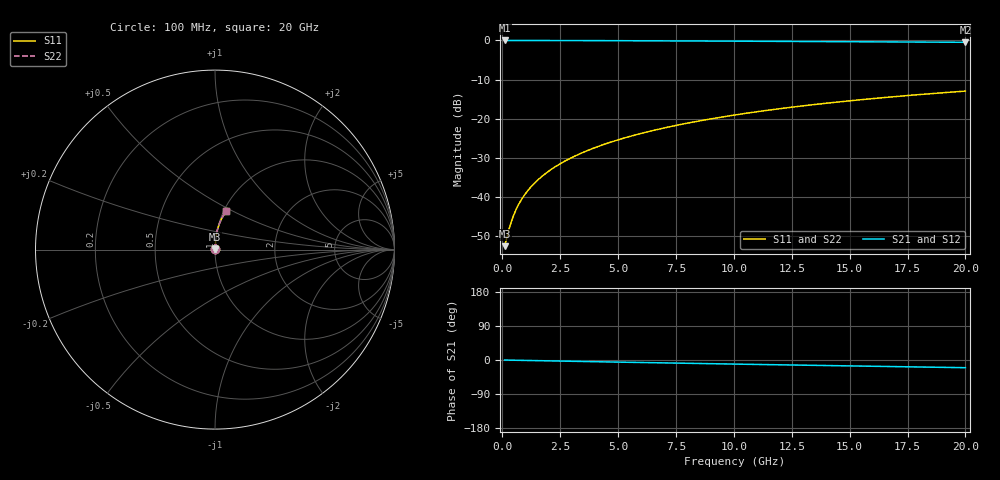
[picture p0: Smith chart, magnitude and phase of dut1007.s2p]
! Touchstone file exported from HFSS 2024.1.0
!  File:  C:/UserFiles/LocalFiles/RDL_TSV_Batchsim/temp_RDL_bottom_1007_1780050224.aedt
!  Generated:  06:26:08 PM May 29, 2026
!  Design:  RDL_bottom
!  Project:  temp_RDL_bottom_1007_1780050224
!  Setup:  Setup1
!  Solution:  Sweep
! Variables:
!  dtsv = 10.80580581um
!  hbump = 3um
!  htsv = 92.36um
!  ldown = 253.53um
!  lrdl = 100um
!  p = 40
!  p1 = 43.96um
!  rhole = 1um
!  t = 450um
!  tdown = 2.7um
!  trdl = 3.915915916um
!  wdown = 18.44um
!  wrdl = 20um
# GHz S MA R 50.000000
! Terminal data exported
! Port[1] = RDL1_T1
! Port[2] = RDL1_T2
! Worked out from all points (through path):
!   200 points, 100 MHz to 20 GHz, reference 50 ohm
!   highest |S21| = -0.02 dB at 100 MHz (marker M1); lowest = -0.5 dB at 20 GHz (marker M2)
!   group delay of S21, straight-line fit = 2.8 ps
!   lowest |S11| = -52.5 dB at 100 MHz (marker M3), VSWR 1.00, Z = 50.2 + j0.114 ohm
!   |S11| at or under -10 dB: start of sweep to end of sweep
!   |S22| runs from -52.5 to -12.9 dB; largest |S21 - S12| = 4e-15
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0.1  0.002359 28.9  0.9979 -0.1  0.9979 -0.1  0.002359 28.9
! Gamma 0 0 0 0
! Port Impedance 50 0 50 0
0.3  0.003972 57.7  0.9978 -0.4  0.9978 -0.4  0.003964 57.7
0.4  0.004946 64.0  0.9977 -0.5  0.9977 -0.5  0.004937 64.0
0.5  0.005948 68.1  0.9976 -0.6  0.9976 -0.6  0.00594 68.0
0.6  0.006961 70.9  0.9976 -0.7  0.9976 -0.7  0.006953 70.9
0.7  0.007977 73.0  0.9975 -0.8  0.9975 -0.8  0.00797 73.0
0.9  0.01001 76.0  0.9973 -1.0  0.9973 -1.0  0.01001 76.0
1.2  0.01308 78.9  0.9971 -1.4  0.9971 -1.4  0.01308 78.9
1.4  0.01513 80.2  0.9969 -1.6  0.9969 -1.6  0.01513 80.2
1.7  0.01823 81.6  0.9966 -1.9  0.9966 -1.9  0.01823 81.6
2.2  0.02345 83.2  0.9961 -2.5  0.9961 -2.5  0.02345 83.2
2.8  0.02978 84.3  0.9953 -3.2  0.9953 -3.2  0.02978 84.3
3.5  0.03728 85.1  0.9941 -3.9  0.9941 -3.9  0.03728 85.1
4.2  0.04489 85.4  0.9928 -4.7  0.9928 -4.7  0.04489 85.4
5  0.05372 85.6  0.9911 -5.6  0.9911 -5.6  0.05372 85.6
5.9  0.06381 85.5  0.989 -6.5  0.989 -6.5  0.06381 85.5
6.8  0.07403 85.1  0.9867 -7.5  0.9867 -7.5  0.07403 85.1
8.4  0.09248 84.2  0.9823 -9.1  0.9823 -9.1  0.09248 84.2
10.1  0.1123 83.0  0.9773 -10.9  0.9773 -10.9  0.1123 83.0
13.4  0.1508 80.0  0.9672 -14.1  0.9672 -14.1  0.1508 80.0
16.7  0.1886 76.8  0.9566 -17.2  0.9566 -17.2  0.1886 76.8
20  0.2252 73.5  0.9455 -20.3  0.9455 -20.3  0.2252 73.5
